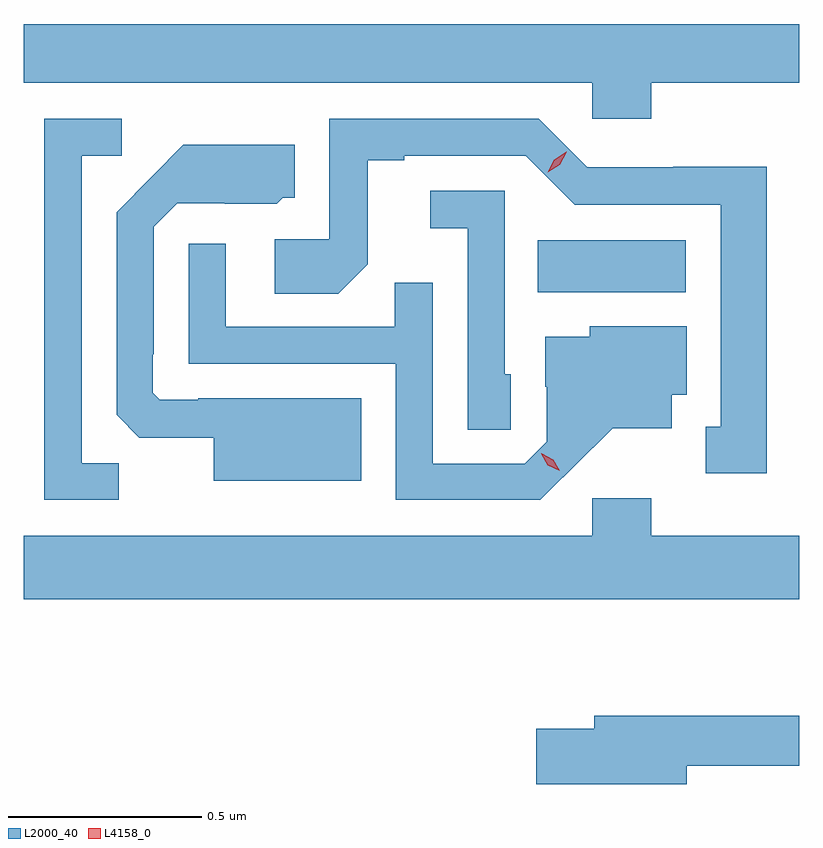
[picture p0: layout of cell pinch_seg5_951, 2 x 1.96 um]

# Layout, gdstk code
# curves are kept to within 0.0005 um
import gdstk
lib = gdstk.Library(unit=1e-6, precision=1e-09)
def R(c, l, rs):  # rectangles x0, y0, x1, y1
    for r in rs: c.add(gdstk.rectangle(r[:2], r[2:], *l))
def P(c, l, *ps):  # polygons
    for p in ps: c.add(gdstk.Polygon(p, *l))
L2000_40 = (2000, 40)
L4158_0 = (4158, 0)

pinch_seg5_951 = lib.new_cell('pinch_seg5_951')
R(pinch_seg5_951, L2000_40, [(682.6,901.508,682.981,901.642)])
P(pinch_seg5_951, L2000_40, [(682.892,902.048),(683.274,902.048),(683.274,902.2),(681.274,902.2),(681.274,902.048),(682.74,902.048),(682.74,901.955),(682.892,901.955)],
  [(683.191,901.832),(682.95,901.832),(682.95,901.83),(682.728,901.83),(682.602,901.956),(682.062,901.956),(682.062,901.644),(681.921,901.644),(681.921,901.504),(682.085,901.504),(682.161,901.58),(682.161,901.848),(682.255,901.848),(682.255,901.86),(682.569,901.86),(682.695,901.734),(683.072,901.734),(683.072,901.161),(683.033,901.161),(683.033,901.041),(683.191,901.041)],
  [(681.519,901.067),(681.423,901.067),(681.423,901.86),(681.526,901.86),(681.526,901.956),(681.327,901.956),(681.327,900.972),(681.519,900.972)],
  [(682.144,901.234),(681.724,901.234),(681.724,901.23),(681.624,901.23),(681.606,901.248),(681.606,901.348),(681.609,901.348),(681.609,901.677),(681.669,901.737),(681.792,901.737),(681.792,901.736),(681.926,901.736),(681.942,901.752),(681.973,901.752),(681.973,901.888),(681.685,901.888),(681.513,901.714),(681.513,901.192),(681.572,901.133),(681.764,901.133),(681.764,901.022),(682.144,901.022)],
  [(682.53,901.296),(682.515,901.296),(682.515,901.77),(682.323,901.77),(682.323,901.673),(682.419,901.673),(682.419,901.153),(682.53,901.153)],
  [(682.639,901.005),(682.793,901.157),(682.945,901.157),(682.945,901.244),(682.984,901.244),(682.984,901.42),(682.734,901.42),(682.734,901.393),(682.619,901.393),(682.619,901.264),(682.623,901.264),(682.623,901.122),(682.566,901.065),(682.329,901.065),(682.329,901.532),(682.231,901.532),(682.231,901.419),(681.795,901.419),(681.795,901.633),(681.699,901.633),(681.699,901.323),(682.233,901.323),(682.233,900.972),(682.606,900.972)],
  [(683.274,900.88),(682.892,900.88),(682.892,900.976),(682.74,900.976),(682.74,900.88),(681.274,900.88),(681.274,900.716),(683.274,900.716)],
  [(682.984,900.286),(683.274,900.286),(683.274,900.415),(682.745,900.415),(682.745,900.381),(682.596,900.381),(682.596,900.239),(682.984,900.239)])
P(pinch_seg5_951, L4158_0, [(682.625,901.817),(682.625,901.817),(682.642,901.85),(682.673,901.87),(682.674,901.87),(682.674,901.87),(682.657,901.837),(682.625,901.817)],
  [(682.657,901.047),(682.626,901.062),(682.609,901.091),(682.609,901.092),(682.609,901.092),(682.64,901.076),(682.657,901.047),(682.657,901.047)])

lib.write_gds('pinch_seg5_951.gds')
